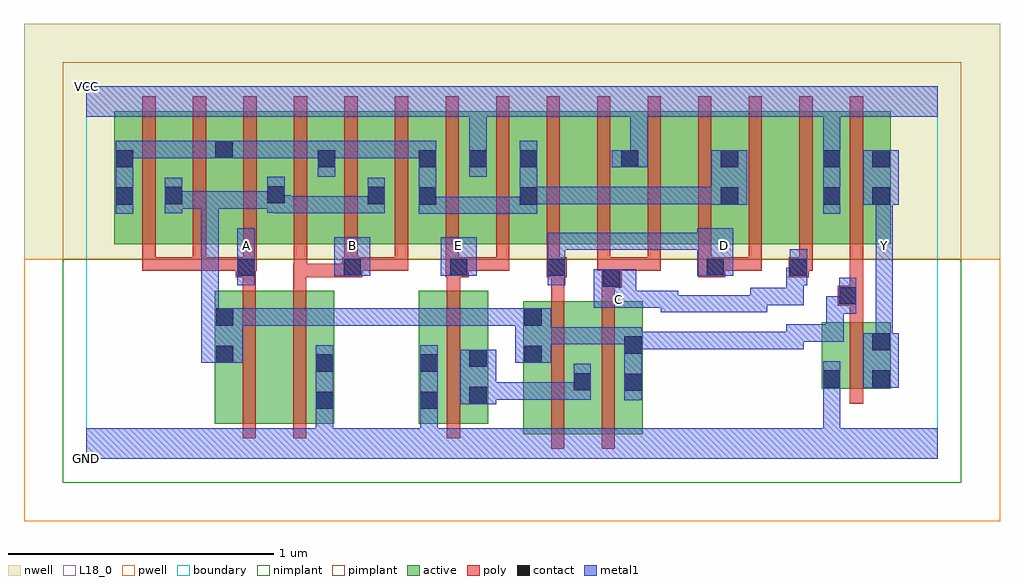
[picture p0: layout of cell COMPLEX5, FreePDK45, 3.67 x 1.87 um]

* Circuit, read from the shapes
.subckt COMPLEX5 A B C D E GND VCC Y
M1 n1 A n2 VSUBS nfet w=0.5u l=0.05u
M2 GND B n1 VSUBS nfet w=0.5u l=0.05u
M3 n3 E GND VSUBS nfet w=0.5u l=0.05u
M4 n3 D n2 VSUBS nfet w=0.5u l=0.05u
M5 n2 C n3 VSUBS nfet w=0.5u l=0.05u
M6 Y n2 GND VSUBS nfet w=0.25u l=0.05u
M7 n2 A n4 n5 pfet w=0.5u l=0.05u m=3
M8 n4 B n2 n5 pfet w=0.5u l=0.05u m=3
M9 VCC E n4 n5 pfet w=0.5u l=0.05u m=2
M10 n6 D n4 n5 pfet w=0.5u l=0.05u
M11 VCC C n6 n5 pfet w=0.5u l=0.05u
M12 n7 C VCC n5 pfet w=0.5u l=0.05u
M13 n4 D n7 n5 pfet w=0.5u l=0.05u
M14 n8 D n4 n5 pfet w=0.5u l=0.05u
M15 VCC C n8 n5 pfet w=0.5u l=0.05u
M16 Y n2 VCC n5 pfet w=0.5u l=0.05u
.ends

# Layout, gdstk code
import gdstk
lib = gdstk.Library(unit=1e-6, precision=1e-09)
def R(c, l, rs):  # rectangles x0, y0, x1, y1
    for r in rs: c.add(gdstk.rectangle(r[:2], r[2:], *l))
def A(c, l, x, y, w, h, nx, ny, dx, dy):  # array of equal rectangles
    R(c, l, [(x+i*dx, y+j*dy, x+i*dx+w, y+j*dy+h) for i in range(nx) for j in range(ny)])
active = (1, 0)
pwell = (2, 0)
nwell = (3, 0)
nimplant = (4, 0)
pimplant = (5, 0)
poly = (9, 0)
contact = (10, 0)
metal1 = (11, 0)
L18_0 = (18, 0)
boundary = (235, 0)

complex5 = lib.new_cell('COMPLEX5')
A(complex5, active, 0.865, 0.807, 0.075, 0.393, 3, 1, 0.38, 0)
R(complex5, active, [(1.642,0.092,1.902,0.592), (1.827,0.092,2.092,0.592), (0.482,0.132,0.707,0.632), (0.707,0.132,0.932,0.632), (1.25,0.132,1.51,0.632), (1.25,0.132,1.325,0.632), (0.857,0.157,0.932,0.577), (0.482,0.195,0.587,0.632), (1.435,0.195,1.51,0.632), (1.642,0.195,1.717,0.592), (1.827,0.195,1.902,0.577), (2.017,0.195,2.092,0.592), (2.765,0.262,2.84,0.512), (2.765,0.262,3.025,0.512), (2.95,0.262,3.025,0.512), (0.105,0.807,0.365,1.307), (0.105,0.807,0.18,1.2), (0.29,0.807,0.555,1.307), (0.29,0.807,0.365,1.07), (0.48,0.807,0.555,1.2), (0.48,0.807,0.75,1.307), (0.675,0.807,0.94,1.307), (0.675,0.807,0.75,1.07), (0.865,0.807,1.127,1.307), (1.052,0.807,1.32,1.307), (1.052,0.807,1.127,1.07), (1.245,0.807,1.51,1.307), (1.435,0.807,1.7,1.307), (1.435,0.807,1.51,1.305), (1.625,0.807,1.85,1.307), (1.85,0.807,2.08,1.307), (2.005,0.807,2.23,1.307), (2.005,0.807,2.08,1.305), (2.23,0.807,2.455,1.307), (2.38,0.807,2.455,1.2), (2.38,0.807,2.61,1.307), (2.61,0.807,2.84,1.307), (2.765,0.807,3.025,1.307), (2.765,0.807,2.84,1.305), (2.95,0.807,3.025,1.2)])
R(complex5, pwell, [(-0.235,-0.235,3.435,0.75)])
R(complex5, nwell, [(-0.235,0.75,3.435,1.635)])
R(complex5, nimplant, [(-0.09,-0.09,3.29,0.75)])
R(complex5, pimplant, [(-0.09,0.75,3.29,1.49)])
A(complex5, poly, 0.21, 0.707, 0.05, 0.095, 3, 1, 0.19, 0)
A(complex5, poly, 0.97, 0.707, 0.05, 0.095, 10, 1, 0.19, 0)
A(complex5, poly, 0.21, 0.752, 0.05, 0.61, 15, 1, 0.19, 0)
R(complex5, poly, [(1.747,0.037,1.797,0.647), (1.937,0.037,1.987,0.647), (0.587,0.077,0.637,0.687), (0.777,0.077,0.827,0.687), (1.355,0.077,1.405,0.687), (2.87,0.207,2.92,0.567), (2.87,0.517,2.92,0.625), (2.825,0.575,2.92,0.65), (1.747,0.597,1.797,0.732), (1.937,0.597,1.987,0.692), (2.87,0.6,2.92,0.802), (2.87,0.6,2.92,0.65), (2.87,0.6,2.92,0.65), (0.587,0.637,0.637,0.732), (0.777,0.637,0.827,0.732), (1.355,0.637,1.405,0.732), (1.937,0.642,2.012,0.717), (1.937,0.667,1.987,0.757), (0.562,0.682,0.637,0.757), (0.777,0.682,0.827,0.732), (0.777,0.682,0.827,0.732), (0.777,0.682,0.83,0.732), (0.78,0.682,1.012,0.732), (0.78,0.682,0.83,0.802), (0.962,0.682,1.012,0.732), (0.962,0.682,1.012,0.732), (0.962,0.682,1.037,0.757), (1.35,0.682,1.437,0.757), (1.355,0.682,1.405,0.732), (1.355,0.682,1.405,0.732), (1.73,0.682,1.805,0.757), (1.747,0.682,1.797,0.732), (1.747,0.682,1.797,0.732), (2.3,0.682,2.402,0.757), (2.64,0.682,2.715,0.757), (0.21,0.707,0.26,0.757), (0.21,0.707,0.45,0.757), (0.4,0.707,0.45,0.757), (0.4,0.707,0.45,0.757), (0.4,0.707,0.45,0.757), (0.4,0.707,0.637,0.757), (0.587,0.707,0.637,0.757), (0.587,0.707,0.637,0.757), (0.587,0.707,0.637,0.757), (0.587,0.707,0.64,0.757), (0.987,0.707,1.145,0.757), (1.095,0.707,1.145,0.757), (1.095,0.707,1.21,0.757), (1.16,0.707,1.21,0.757), (1.387,0.707,1.59,0.757), (1.54,0.707,1.59,0.757), (1.54,0.707,1.59,0.757), (1.54,0.707,1.59,0.757), (1.92,0.707,1.987,0.757), (1.937,0.707,2.16,0.757), (2.11,0.707,2.16,0.757), (2.11,0.707,2.16,0.757), (2.11,0.707,2.16,0.757), (2.352,0.707,2.402,0.757), (2.352,0.707,2.402,0.757), (2.352,0.707,2.54,0.757), (2.49,0.707,2.54,0.757), (2.665,0.707,2.715,0.757), (2.665,0.707,2.73,0.757)])
A(complex5, contact, 0.567, 0.687, 0.065, 0.065, 3, 1, 0.4, 0)
A(complex5, contact, 1.25, 1.095, 0.065, 0.065, 3, 1, 0.19, 0)
R(complex5, contact, [(0.862,0.187,0.927,0.252), (1.255,0.187,1.32,0.252), (1.44,0.205,1.505,0.27), (2.022,0.255,2.087,0.32), (1.832,0.257,1.897,0.322), (2.77,0.267,2.835,0.332), (2.955,0.267,3.02,0.332), (0.862,0.327,0.927,0.392), (1.255,0.327,1.32,0.392), (1.44,0.345,1.505,0.41), (0.487,0.36,0.552,0.425), (1.647,0.36,1.712,0.425), (2.022,0.395,2.087,0.46), (2.955,0.407,3.02,0.472), (0.487,0.5,0.552,0.565), (1.647,0.5,1.712,0.565), (2.83,0.58,2.895,0.645), (1.942,0.647,2.007,0.712), (1.735,0.687,1.8,0.752), (2.332,0.687,2.397,0.752), (2.645,0.687,2.71,0.752), (0.11,0.955,0.175,1.02), (1.25,0.955,1.315,1.02), (1.63,0.955,1.695,1.02), (2.385,0.955,2.45,1.02), (2.77,0.955,2.835,1.02), (2.955,0.955,3.02,1.02), (0.295,0.957,0.36,1.022), (1.057,0.957,1.122,1.022), (0.68,0.96,0.745,1.025), (0.11,1.095,0.175,1.16), (0.87,1.095,0.935,1.16), (2.01,1.095,2.075,1.16), (2.385,1.095,2.45,1.16), (2.77,1.095,2.835,1.16), (2.955,1.095,3.02,1.16), (0.485,1.13,0.55,1.195)])
R(complex5, metal1, [(0,0,3.2,0.115), (0.862,0.05,0.927,0.217), (1.255,0.05,1.32,0.217), (2.77,0.05,2.835,0.115), (2.77,0.05,2.835,0.115), (2.77,0.05,2.835,0.297), (0.862,0.152,0.927,0.427), (1.255,0.152,1.32,0.427), (1.405,0.205,1.54,0.41), (2.022,0.22,2.087,0.495), (1.475,0.222,1.54,0.287), (1.475,0.222,1.54,0.287), (1.475,0.222,1.76,0.287), (1.695,0.222,1.76,0.287), (1.695,0.222,1.76,0.287), (1.695,0.222,1.76,0.287), (1.695,0.222,1.897,0.287), (1.832,0.222,1.897,0.357), (2.77,0.232,2.835,0.297), (2.77,0.232,2.835,0.297), (2.77,0.232,2.835,0.367), (2.92,0.267,3.055,0.472), (0.432,0.36,0.587,0.565), (1.612,0.36,1.747,0.565), (2.967,0.407,3.032,0.797), (2.022,0.412,2.225,0.477), (2.16,0.412,2.225,0.477), (2.16,0.412,2.225,0.477), (2.16,0.412,2.225,0.477), (2.16,0.412,2.362,0.477), (2.297,0.412,2.362,0.477), (2.297,0.412,2.362,0.477), (2.297,0.412,2.362,0.477), (2.297,0.412,2.5,0.477), (2.435,0.412,2.5,0.477), (2.435,0.412,2.697,0.477), (2.632,0.412,2.697,0.505), (1.682,0.43,1.747,0.495), (1.682,0.43,1.747,0.495), (1.682,0.43,1.902,0.495), (1.837,0.43,1.902,0.495), (1.837,0.43,2.087,0.495), (2.022,0.43,2.087,0.495), (2.022,0.43,2.087,0.495), (2.632,0.44,2.697,0.505), (2.632,0.44,2.697,0.505), (2.632,0.44,2.847,0.505), (2.782,0.44,2.847,0.505), (2.782,0.44,2.847,0.61), (0.432,0.5,0.497,0.565), (0.432,0.5,0.497,0.565), (0.432,0.5,0.497,1.005), (0.522,0.5,0.587,0.565), (0.522,0.5,0.587,0.565), (0.522,0.5,0.79,0.565), (0.725,0.5,0.79,0.565), (0.725,0.5,0.79,0.565), (0.725,0.5,0.79,0.565), (0.725,0.5,0.985,0.565), (0.92,0.5,0.985,0.565), (0.92,0.5,0.985,0.565), (0.92,0.5,0.985,0.565), (0.92,0.5,1.122,0.565), (1.057,0.5,1.122,0.565), (1.057,0.5,1.122,0.565), (1.057,0.5,1.122,0.565), (1.057,0.5,1.332,0.565), (1.267,0.5,1.332,0.565), (1.267,0.5,1.332,0.565), (1.267,0.5,1.332,0.565), (1.267,0.5,1.54,0.565), (1.475,0.5,1.54,0.565), (1.475,0.5,1.54,0.565), (1.475,0.5,1.54,0.565), (1.475,0.5,1.677,0.565), (2.782,0.545,2.847,0.61), (2.782,0.545,2.895,0.61), (2.83,0.545,2.895,0.68), (2.16,0.55,2.362,0.615), (2.16,0.55,2.225,0.632), (2.297,0.55,2.362,0.615), (2.297,0.55,2.362,0.615), (2.297,0.55,2.362,0.615), (2.297,0.55,2.56,0.615), (2.495,0.55,2.56,0.642), (1.907,0.567,2.067,0.712), (2.002,0.567,2.067,0.632), (2.002,0.567,2.067,0.632), (2.002,0.567,2.225,0.632), (2.16,0.567,2.225,0.632), (2.16,0.567,2.225,0.632), (2.495,0.577,2.697,0.642), (2.632,0.577,2.697,0.717), (0.567,0.652,0.632,0.867), (1.735,0.652,1.8,0.85), (2.632,0.652,2.71,0.717), (2.645,0.652,2.71,0.787), (0.932,0.687,1.067,0.832), (1.332,0.687,1.467,0.832), (2.297,0.687,2.432,0.867), (2.967,0.732,3.032,0.867), (1.735,0.785,1.902,0.85), (1.837,0.785,1.902,0.85), (1.837,0.785,2.04,0.85), (1.975,0.785,2.04,0.85), (1.975,0.785,2.04,0.85), (1.975,0.785,2.04,0.85), (1.975,0.785,2.225,0.85), (2.16,0.785,2.225,0.85), (2.16,0.785,2.225,0.85), (2.16,0.785,2.225,0.85), (2.16,0.785,2.362,0.85), (2.967,0.802,3.032,1.02), (2.967,0.802,3.032,0.867), (2.967,0.802,3.032,0.867), (0.11,0.92,0.175,1.195), (1.25,0.92,1.315,0.985), (1.25,0.92,1.315,0.985), (1.25,0.92,1.315,0.985), (1.25,0.92,1.315,0.985), (1.25,0.92,1.315,1.195), (1.25,0.92,1.54,0.985), (1.475,0.92,1.54,0.985), (1.475,0.92,1.54,0.985), (1.475,0.92,1.54,0.985), (1.475,0.92,1.695,0.985), (1.63,0.92,1.695,1.195), (2.77,0.92,2.835,1.195), (0.295,0.922,0.36,1.057), (0.705,0.922,0.985,0.987), (0.705,0.922,0.77,0.99), (0.92,0.922,0.985,0.987), (0.92,0.922,0.985,0.987), (0.92,0.922,0.985,0.987), (0.92,0.922,1.122,0.987), (1.057,0.922,1.122,1.057), (0.68,0.925,0.745,1.06), (0.68,0.925,0.77,0.99), (0.295,0.94,0.36,1.005), (0.295,0.94,0.36,1.005), (0.295,0.94,0.497,1.005), (0.432,0.94,0.497,1.005), (0.432,0.94,0.497,1.005), (0.432,0.94,0.497,1.005), (0.432,0.94,0.497,1.005), (0.432,0.94,0.497,1.005), (0.432,0.94,0.745,1.005), (2.35,0.955,2.485,1.16), (2.92,0.955,3.055,1.16), (1.63,0.957,1.695,1.022), (1.63,0.957,1.695,1.022), (1.63,0.957,1.902,1.022), (1.837,0.957,1.902,1.022), (1.837,0.957,2.04,1.022), (1.975,0.957,2.04,1.022), (1.975,0.957,2.04,1.022), (1.975,0.957,2.04,1.022), (1.975,0.957,2.225,1.022), (2.16,0.957,2.225,1.022), (2.16,0.957,2.225,1.022), (2.16,0.957,2.225,1.022), (2.16,0.957,2.362,1.022), (2.297,0.957,2.362,1.022), (2.297,0.957,2.415,1.022), (0.87,1.06,0.935,1.195), (1.44,1.06,1.505,1.195), (1.975,1.095,2.11,1.16), (2.045,1.095,2.11,1.35), (0.11,1.13,0.175,1.195), (0.11,1.13,0.175,1.195), (0.11,1.13,0.36,1.195), (0.295,1.13,0.36,1.195), (0.295,1.13,0.36,1.195), (0.295,1.13,0.36,1.195), (0.295,1.13,0.515,1.195), (0.45,1.13,0.585,1.195), (0.52,1.13,0.585,1.195), (0.52,1.13,0.585,1.195), (0.52,1.13,0.725,1.195), (0.66,1.13,0.725,1.195), (0.66,1.13,0.847,1.195), (0.782,1.13,0.847,1.195), (0.782,1.13,0.935,1.195), (0.87,1.13,0.985,1.195), (0.92,1.13,0.985,1.195), (0.92,1.13,1.122,1.195), (1.057,1.13,1.122,1.195), (1.057,1.13,1.122,1.195), (1.057,1.13,1.122,1.195), (1.057,1.13,1.315,1.195), (1.44,1.13,1.505,1.35), (2.77,1.13,2.835,1.35), (0,1.285,3.2,1.4)])
A(complex5, L18_0, 0.567, 0.767, 0.065, 0.065, 3, 1, 0.4, 0)
R(complex5, L18_0, [(0,0,3.2,0.115), (0.862,0.05,0.927,0.217), (1.255,0.05,1.32,0.217), (2.77,0.05,2.835,0.115), (2.77,0.05,2.835,0.115), (2.77,0.05,2.835,0.297), (0.862,0.152,0.927,0.427), (1.255,0.152,1.32,0.427), (2.77,0.232,2.835,0.367), (2.77,0.232,2.835,0.297), (2.77,0.232,2.835,0.297), (2.92,0.267,3.055,0.472), (2.967,0.407,3.032,0.797), (2.16,0.55,2.225,0.632), (2.16,0.55,2.362,0.615), (2.297,0.55,2.362,0.615), (2.297,0.55,2.362,0.615), (2.297,0.55,2.362,0.615), (2.297,0.55,2.56,0.615), (2.495,0.55,2.56,0.642), (1.907,0.567,2.067,0.712), (1.967,0.567,2.032,0.632), (2.002,0.567,2.067,0.632), (2.002,0.567,2.067,0.632), (2.002,0.567,2.225,0.632), (2.16,0.567,2.225,0.632), (2.16,0.567,2.225,0.632), (2.495,0.577,2.697,0.642), (2.632,0.577,2.697,0.717), (0.567,0.652,0.632,0.867), (1.735,0.652,1.8,0.85), (2.632,0.652,2.71,0.717), (2.645,0.652,2.71,0.787), (0.932,0.687,1.067,0.832), (1.332,0.687,1.467,0.832), (2.297,0.687,2.432,0.867), (2.967,0.732,3.032,0.867), (2.367,0.767,2.432,0.832), (2.967,0.767,3.032,0.832), (1.735,0.785,1.902,0.85), (1.837,0.785,1.902,0.85), (1.837,0.785,2.04,0.85), (1.975,0.785,2.04,0.85), (1.975,0.785,2.04,0.85), (1.975,0.785,2.04,0.85), (1.975,0.785,2.225,0.85), (2.16,0.785,2.225,0.85), (2.16,0.785,2.225,0.85), (2.16,0.785,2.225,0.85), (2.16,0.785,2.362,0.85), (2.967,0.802,3.032,0.867), (2.967,0.802,3.032,0.867), (2.967,0.802,3.032,1.02), (2.77,0.92,2.835,1.195), (2.92,0.955,3.055,1.16), (1.44,1.06,1.505,1.195), (1.975,1.095,2.11,1.16), (2.045,1.095,2.11,1.35), (1.44,1.13,1.505,1.35), (2.77,1.13,2.835,1.35), (0,1.285,3.2,1.4)])
R(complex5, boundary, [(0,0,3.2,1.4)])
complex5.add(gdstk.Label('A', (0.6,0.8), layer=11, texttype=0))
complex5.add(gdstk.Label('B', (1,0.8), layer=11, texttype=0))
complex5.add(gdstk.Label('C', (2,0.6), layer=11, texttype=0))
complex5.add(gdstk.Label('D', (2.4,0.8), layer=11, texttype=0))
complex5.add(gdstk.Label('E', (1.4,0.8), layer=11, texttype=0))
complex5.add(gdstk.Label('Y', (3,0.8), layer=11, texttype=0))
complex5.add(gdstk.Label('VCC', (0,1.4), layer=11, texttype=0))
complex5.add(gdstk.Label('GND', (0,0), layer=11, texttype=0))

lib.write_gds('COMPLEX5.gds')
